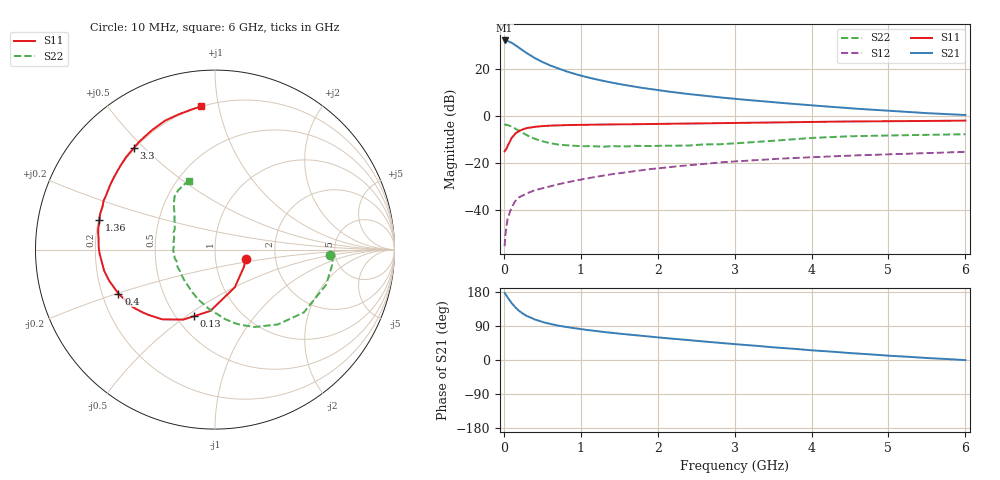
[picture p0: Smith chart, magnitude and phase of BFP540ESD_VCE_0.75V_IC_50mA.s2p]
! Infineon Technologies  Discrete & RF Semiconductors
! BFP540ESD
! VCE = 0.75 V,  IC =  50 mA
! Common Emitter S-Parameters:  Nov 2015
# GHz  S  MA  R  50
!  f  S11  S21  S12  S22
! GHz  MAG  ANG  MAG  ANG  MAG  ANG  MAG  ANG
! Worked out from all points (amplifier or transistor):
!   210 points, 10 MHz to 6 GHz, reference 50 ohm
!   highest |S21| = 32.2 dB at 10 MHz (marker M1)
!   |S21| within 3 dB of that: start of sweep to 192.5 MHz
!   unconditionally stable (mu >= 1): start of sweep to 56.64 MHz; 850.7 MHz to end of sweep
!   at 185 MHz: K = 0.59, MSG = 32.2 dB, |S12| = -35.0 dB
!   at 1.52 GHz: K = 1.14, MAG = 16.6 dB, |S12| = -24.2 dB
!   at 6 GHz: K = 1.22, MAG = 5.0 dB, |S12| = -15.2 dB
!   S11 on the Smith chart (normalised r, x): 10 MHz: 1.40, -0.15; 130 MHz: 0.61, -0.54; 400 MHz: 0.27, -0.20; 1.36 GHz: 0.20, +0.12; 3.3 GHz: 0.20, +0.47; 6 GHz: 0.20, +0.89
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0.01  0.1783 -16.7  40.9 177.1  0.0017 102.1  0.6429 -2.6
0.05  0.237 -62.2  39.87 164.8  0.0065 83.3  0.6493 -17.6
0.095  0.3287 -92.1  36.93 151.8  0.0107 68.9  0.6078 -33.4
0.1  0.3427 -94.3  36.73 150.3  0.0112 68.0  0.6062 -35.3
0.13  0.3884 -107.4  33.98 143.6  0.0139 64.1  0.5646 -43.7
0.15  0.4279 -114.3  32.43 138.6  0.0157 62.3  0.5445 -50.0
0.2  0.4872 -127.1  28.4 129.3  0.0187 57.9  0.4852 -62.7
0.26  0.5329 -138.8  24.19 120.8  0.021 55.5  0.4263 -74.6
0.3  0.558 -144.7  21.84 115.9  0.0226 54.2  0.3915 -81.7
0.4  0.5915 -155.5  17.34 106.9  0.0263 51.8  0.3304 -96.2
0.5  0.6143 -163.5  14.27 100.2  0.0289 52.5  0.2922 -109.0
0.6  0.6291 -169.3  12.03 95.3  0.0319 53.4  0.2667 -119.1
0.8  0.6439 -178.2  9.11 87.4  0.0383 53.7  0.2409 -136.0
1.02  0.6517 174.4  7.157 80.9  0.0452 54.2  0.2289 -149.9
1.36  0.6645 165.6  5.348 72.6  0.0565 54.1  0.2275 -166.1
1.7  0.6727 158.1  4.235 65.4  0.0671 52.5  0.2331 -177.6
2.02  0.6799 151.7  3.535 59.2  0.0778 50.3  0.2335 173.8
3.1  0.7174 132.1  2.261 40.4  0.1111 40.8  0.2695 146.7
3.3  0.7246 128.6  2.114 37.2  0.1166 38.5  0.2832 142.8
4.1  0.7554 116.4  1.649 24.3  0.1354 30.3  0.3487 131.0
5.1  0.7815 104.1  1.271 10.3  0.1552 20.9  0.3905 120.9
6  0.8018 95.6  1.057 -0.3  0.1735 13.7  0.4111 110.9
